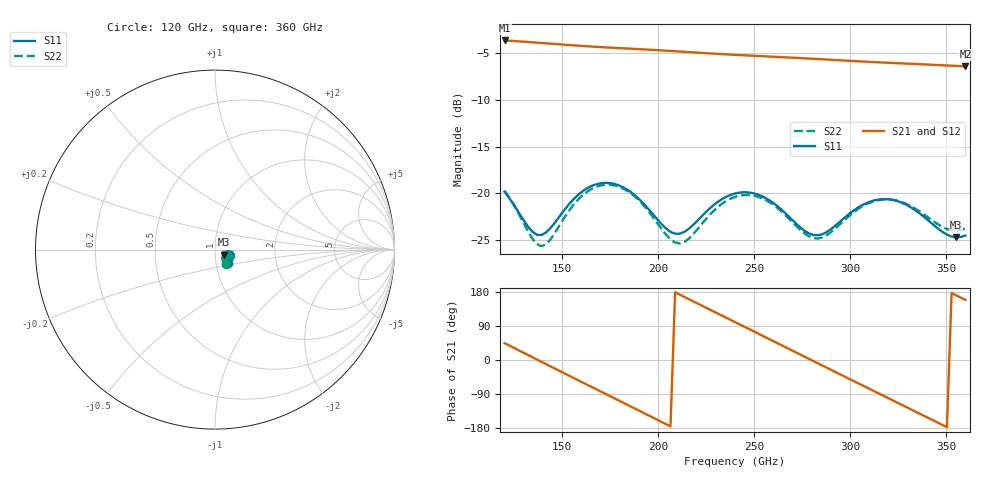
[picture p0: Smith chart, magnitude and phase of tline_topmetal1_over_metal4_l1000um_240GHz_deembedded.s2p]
! Created with skrf 2.2.0 (http://scikit-rf.org).
# GHz S DB R 50.0
! Port[1] = P1
! Port[2] = P2
!freq dBS11 angS11 dBS21 angS21 dBS12 angS12 dBS22 angS22
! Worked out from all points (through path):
!   101 points, 120 GHz to 360 GHz, reference 50 ohm
!   highest |S21| = -3.64 dB at 120 GHz (marker M1); lowest = -6.4 dB at 360 GHz (marker M2)
!   group delay of S21, straight-line fit = 7.01 ps
!   lowest |S11| = -24.7 dB at 355.2 GHz (marker M3), VSWR 1.12, Z = 55.3 - j3.05 ohm
!   |S11| at or under -10 dB: start of sweep to end of sweep
!   |S22| runs from -25.7 to -19.1 dB; largest |S21 - S12| = 1.1e-13
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120  -19.83 -46.0  -3.64 44.4  -3.64 44.4  -19.74 -52.1
129.6  -22.80 -44.5  -3.77 19.8  -3.77 19.8  -23.08 -53.2
139.2  -24.47 -23.5  -3.91 -4.8  -3.91 -4.8  -25.67 -30.0
148.8  -22.42 -7.5  -4.06 -29.3  -4.06 -29.3  -23.37 -8.4
160.8  -19.75 -11.3  -4.23 -59.7  -4.23 -59.7  -20.18 -11.8
170.4  -18.91 -21.6  -4.35 -84.0  -4.35 -84.0  -19.14 -23.0
180  -19.19 -32.8  -4.46 -108.3  -4.46 -108.3  -19.33 -35.4
192  -21.03 -42.4  -4.59 -138.7  -4.59 -138.7  -21.20 -47.0
201.6  -23.28 -39.8  -4.71 -163.1  -4.71 -163.1  -23.77 -46.0
211.2  -24.33 -24.2  -4.82 172.6  -4.82 172.6  -25.37 -28.5
218.4  -23.35 -13.8  -4.92 154.4  -4.92 154.4  -24.35 -15.0
230.4  -21.02 -13.1  -5.07 124.1  -5.07 124.1  -21.60 -12.8
240  -20.02 -20.9  -5.18 100.0  -5.18 100.0  -20.39 -20.9
256.8  -20.61 -37.0  -5.35 57.8  -5.35 57.8  -20.81 -38.0
268.8  -22.65 -41.2  -5.48 27.5  -5.48 27.5  -22.85 -43.1
280.8  -24.47 -29.7  -5.61 -2.7  -5.61 -2.7  -24.80 -31.6
290.4  -23.77 -17.1  -5.71 -26.9  -5.71 -26.9  -24.10 -18.0
302.4  -21.76 -15.3  -5.85 -57.0  -5.85 -57.0  -21.94 -15.6
321.6  -20.69 -30.3  -6.05 -105.1  -6.05 -105.1  -20.69 -30.5
338.4  -22.52 -40.4  -6.20 -147.2  -6.20 -147.2  -22.26 -40.3
355.2  -24.72 -28.2  -6.37 170.6  -6.37 170.6  -24.00 -29.9
360  -24.53 -22.1  -6.42 158.6  -6.42 158.6  -23.77 -25.1
